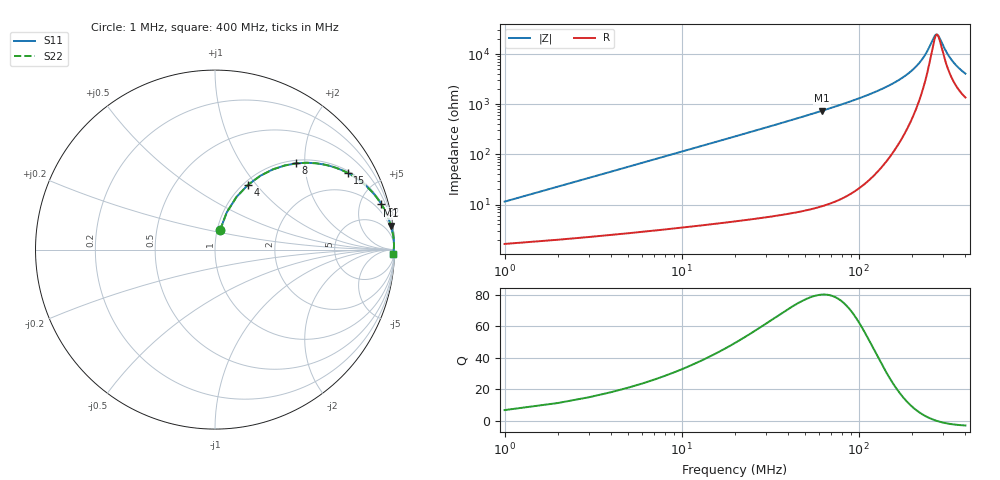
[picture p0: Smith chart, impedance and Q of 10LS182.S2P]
! Coilcraft 1008LS-182 Chip Inductor
! 5 August 2002
# MHZ S MA R 50
!Freq  MagS11  AngS11  MagS21  AngS21  MagS12  AngS12  MagS22  AngS22
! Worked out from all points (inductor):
!   400 points, 1 MHz to 400 MHz, reference 50 ohm
!   read as one part in series: L = 1.8 uH near 3 MHz
!   highest Q = 79.9 at 62 MHz (marker M1), where L = 1.9 uH
!   self-resonance near 277 MHz
!   S11 on the Smith chart (normalised r, x): 1 MHz: 1.03, +0.23; 4 MHz: 1.05, +0.90; 8 MHz: 1.06, +1.81; 15 MHz: 1.08, +3.40; 32 MHz: 1.12, +7.34; 400 MHz: 28, -77
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1  0.1117 75.4  0.9778 -6.3  0.9778 -6.3  0.1117 75.4
2  0.2174 72.5  0.9572 -12.5  0.9572 -12.5  0.2174 72.5
3  0.3157 67.8  0.9282 -18.4  0.9282 -18.4  0.3157 67.8
4  0.4045 63.0  0.8927 -23.8  0.8927 -23.8  0.4045 63.0
6  0.5513 54.2  0.8114 -33.4  0.8114 -33.4  0.5513 54.2
8  0.66 46.7  0.7284 -41.3  0.7284 -41.3  0.66 46.7
11  0.7693 38.1  0.6171 -50.3  0.6171 -50.3  0.7693 38.1
15  0.8533 30.1  0.5014 -58.5  0.5014 -58.5  0.8533 30.1
22  0.9226 21.6  0.3684 -67.3  0.3684 -67.3  0.9226 21.6
32  0.961 15.2  0.2619 -73.9  0.2619 -73.9  0.961 15.2
62  0.9893 7.7  0.1339 -81.6  0.1339 -81.6  0.9893 7.7
68  0.9911 6.9  0.121 -82.3  0.121 -82.3  0.9911 6.9
134  0.9974 2.9  0.05026 -85.5  0.05026 -85.5  0.9974 2.9
201  0.9975 1.2  0.02077 -82.4  0.02077 -82.4  0.9975 1.2
234  0.9969 0.6  0.01112 -73.7  0.01112 -73.7  0.9969 0.6
267  0.9962 0.1  0.004483 -31.4  0.004483 -31.4  0.9962 0.1
274  0.996 0.0  0.004072 -10.2  0.004072 -10.2  0.996 0.0
281  0.9958 -0.0  0.004284 11.5  0.004284 11.5  0.9958 -0.0
310  0.9949 -0.4  0.008611 53.8  0.008611 53.8  0.9949 -0.4
334  0.9941 -0.7  0.013 62.8  0.013 62.8  0.9941 -0.7
363  0.9931 -1.0  0.01816 67.1  0.01816 67.1  0.9931 -1.0
400  0.9916 -1.3  0.02439 69.2  0.02439 69.2  0.9916 -1.3
